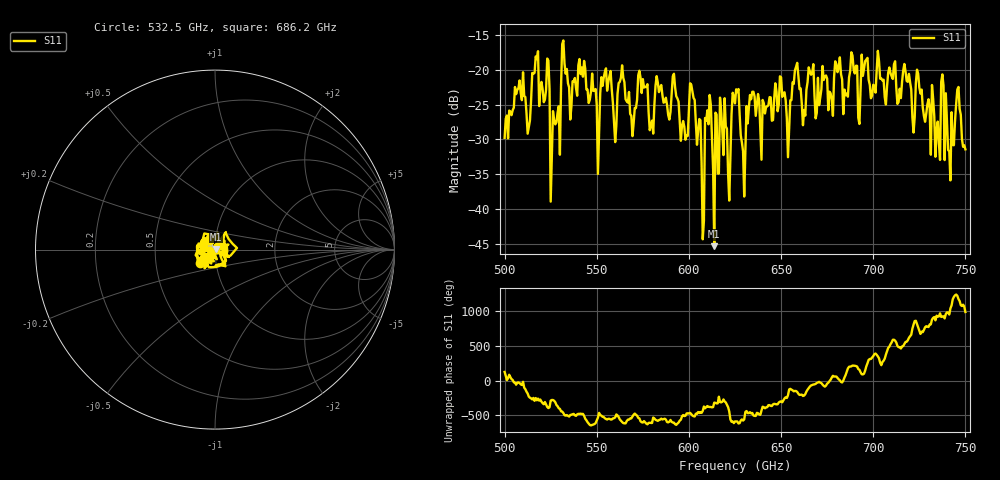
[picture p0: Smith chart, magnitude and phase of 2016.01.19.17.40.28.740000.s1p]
!Created with skrf (http://scikit-rf.org).
# GHz S RI R 50.0
!freq ReS11 ImS11
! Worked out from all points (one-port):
!   401 points, 500 GHz to 750 GHz, reference 50 ohm
!   lowest |S11| = -45.4 dB at 613.8 GHz (marker M1), VSWR 1.01, Z = 50.4 + j0.367 ohm
!   |S11| at or under -10 dB: start of sweep to end of sweep
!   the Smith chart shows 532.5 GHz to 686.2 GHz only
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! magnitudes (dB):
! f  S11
! 500 GHz  -29.8
! 506.9 GHz  -22.9
! 513.1 GHz  -28.3
! 516.9 GHz  -18.1
! 523.1 GHz  -18.4
! 526.2 GHz  -25.9
! 531.2 GHz  -16.3
! 550.6 GHz  -35.0
! 562.5 GHz  -21.7
! 569.4 GHz  -29.5
! 573.8 GHz  -21.1
! 593.8 GHz  -24.1
! 598.1 GHz  -30.1
! 601.9 GHz  -23.1
! 606.9 GHz  -33.4
! 610.6 GHz  -27.8
! 613.8 GHz  -45.4
! 618.1 GHz  -28.8
! 621.9 GHz  -38.8
! 625 GHz  -24.8
! 629.4 GHz  -31.7
! 634.4 GHz  -23.2
! 656.2 GHz  -21.8
! 687.5 GHz  -20.2
! 718.8 GHz  -21.7
! 735 GHz  -27.4
! 746.2 GHz  -22.5
! 750 GHz  -31.4
